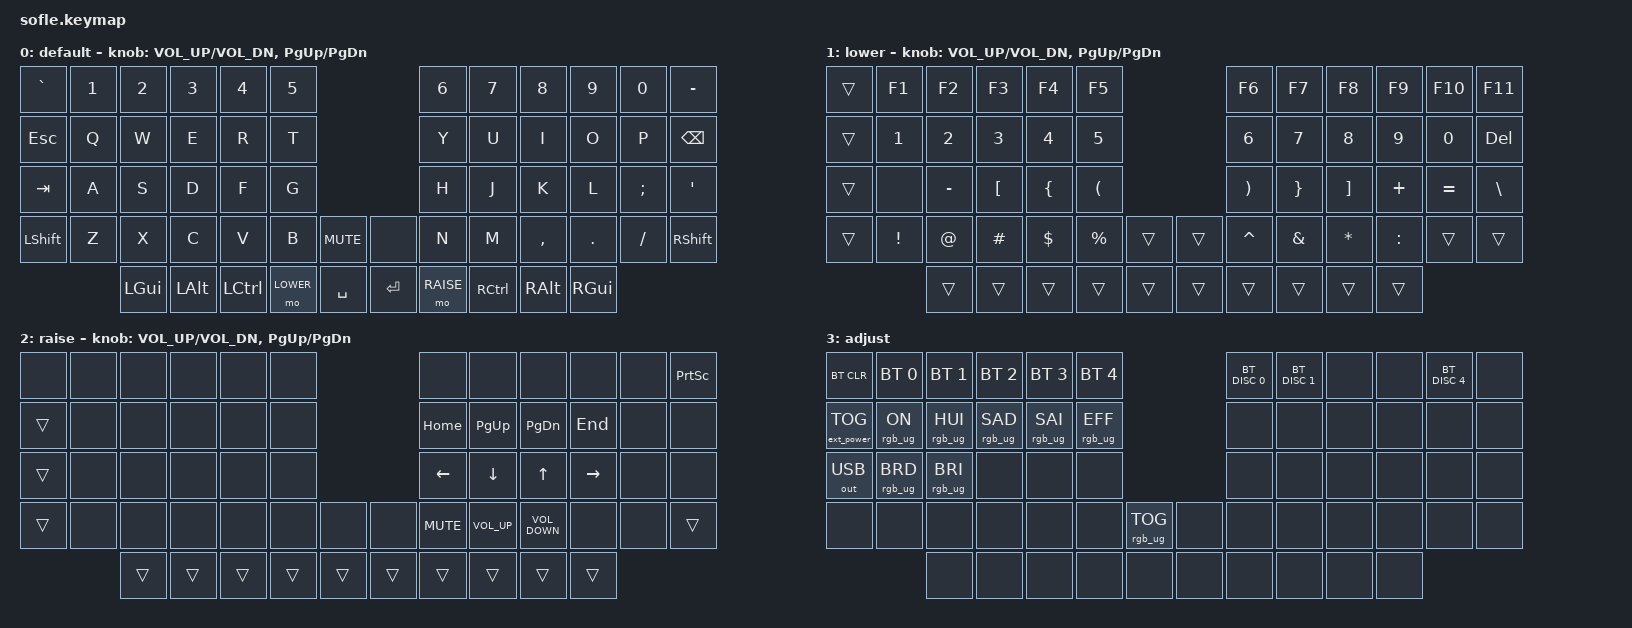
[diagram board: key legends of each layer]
/*
 * Copyright (c) 2020 The ZMK Contributors
 *
 * SPDX-License-Identifier: MIT
 */

#include <behaviors.dtsi>
#include <dt-bindings/zmk/bt.h>
#include <dt-bindings/zmk/ext_power.h>
#include <dt-bindings/zmk/keys.h>
#include <dt-bindings/zmk/outputs.h>
#include <dt-bindings/zmk/rgb.h>

#define BASE 0
#define LOWER 1
#define RAISE 2
#define ADJUST 3

/ {
    // Activate ADJUST layer by pressing raise and lower

    conditional_layers {
        compatible = "zmk,conditional-layers";

        adjust_layer {
            if-layers = <LOWER RAISE>;
            then-layer = <ADJUST>;
        };
    };

    keymap {
        compatible = "zmk,keymap";

        default_layer {
            display-name = "default";

            // ------------------------------------------------------------------------------------------------------------
            // |   `   |  1  |  2  |  3   |  4   |  5   |                   |  6   |  7    |  8    |  9   |   0   | MINUS |
            // |  ESC  |  Q  |  W  |  E   |  R   |  T   |                   |  Y   |  U    |  I    |  O   |   P   | BKSPC |
            // |  TAB  |  A  |  S  |  D   |  F   |  G   |                   |  H   |  J    |  K    |  L   |   ;   |   '   |
            // | SHIFT |  Z  |  X  |  C   |  V   |  B   |  MUTE  |  |       |  N   |  M    |  ,    |  .   |   /   | SHIFT |
            //               | GUI | ALT  | CTRL | LOWER|  SPACE |  | ENTER | RAISE| CTRL  | ALT   | GUI  |

            bindings = <
&kp GRAVE  &kp N1  &kp N2    &kp N3    &kp N4     &kp N5                            &kp N6     &kp N7     &kp N8     &kp N9    &kp N0    &kp MINUS
&kp ESC    &kp Q   &kp W     &kp E     &kp R      &kp T                             &kp Y      &kp U      &kp I      &kp O     &kp P     &kp BSPC
&kp TAB    &kp A   &kp S     &kp D     &kp F      &kp G                             &kp H      &kp J      &kp K      &kp L     &kp SEMI  &kp SQT
&kp LSHFT  &kp Z   &kp X     &kp C     &kp V      &kp B      &kp C_MUTE    &none    &kp N      &kp M      &kp COMMA  &kp DOT   &kp FSLH  &kp RSHFT
                   &kp LGUI  &kp LALT  &kp LCTRL  &mo LOWER  &kp SPACE     &kp RET  &mo RAISE  &kp RCTRL  &kp RALT   &kp RGUI
            >;

            sensor-bindings = <&inc_dec_kp C_VOL_UP C_VOL_DN &inc_dec_kp PG_UP PG_DN>;
        };

        lower_layer {
            display-name = "lower";

            // TODO: Some binds are waiting for shifted keycode support.
            // ------------------------------------------------------------------------------------------------------------
            // |       |  F1 |  F2 |  F3  |  F4  |  F5  |                   |  F6  |  F7   |  F8   |  F9  |  F10  |  F11  |
            // |   `   |  1  |  2  |  3   |  4   |  5   |                   |  6   |  7    |  8    |  9   |   0   |  F12  |
            // |       |  *  |  -  |  [   |  {   |  (   |                   |  )   |  }    |  ]    |  +   |   =   |   |   |
            // |       |  !  |  @  |  #   |  $   |  %   |        |  |       |  ^   |  &    |  ;    |  :   |   \   |       |
            //               |     |      |      |      |        |  |       |      |       |       |      |

            bindings = <
&trans  &kp F1    &kp F2     &kp F3    &kp F4    &kp F5                       &kp F6     &kp F7    &kp F8        &kp F9     &kp F10    &kp F11
&trans  &kp N1    &kp N2     &kp N3    &kp N4    &kp N5                       &kp N6     &kp N7    &kp N8        &kp N9     &kp N0     &kp DELETE
&trans  &none     &kp MINUS  &kp LBKT  &kp LBRC  &kp LPAR                     &kp RPAR   &kp RBRC  &kp RBKT      &kp PLUS   &kp EQUAL  &kp BACKSLASH
&trans  &kp EXCL  &kp AT     &kp HASH  &kp DLLR  &kp PRCNT  &trans    &trans  &kp CARET  &kp AMPS  &kp ASTERISK  &kp COLON  &trans     &trans
                  &trans     &trans    &trans    &trans     &trans    &trans  &trans     &trans    &trans        &trans
            >;

            sensor-bindings = <&inc_dec_kp C_VOL_UP C_VOL_DN &inc_dec_kp PG_UP PG_DN>;
        };

        raise_layer {
            display-name = "raise";

            // ------------------------------------------------------------------------------------------------------------
            // | BTCLR | BT1  | BT2  |  BT3  |  BT4  |  BT5 |                |      |      |       |      |       |       |
            // |       | INS  | PSCR | GUI   |       |      |                | PGUP |      |   ^   |      |       |       |
            // |       | ALT  | CTRL | SHIFT |       | CAPS |                | PGDN |   <- |   v   |  ->  |  DEL  | BKSPC |
            // |       | UNDO | CUT  | COPY  | PASTE |      |      |  |      |      |      |       |      |       |       |
            //                |      |       |       |      |      |  |      |      |      |       |      |

            bindings = <
&none   &none  &none   &none   &none   &none                     &none           &none            &none              &none      &none  &kp PRINTSCREEN
&trans  &none  &none   &none   &none   &none                     &kp HOME        &kp PAGE_UP      &kp PAGE_DOWN      &kp END    &none  &none
&trans  &none  &none   &none   &none   &none                     &kp LEFT_ARROW  &kp DOWN         &kp UP             &kp RIGHT  &none  &none
&trans  &none  &none   &none   &none   &none   &none     &none   &kp C_MUTE      &kp C_VOLUME_UP  &kp C_VOLUME_DOWN  &none      &none  &trans
               &trans  &trans  &trans  &trans  &trans    &trans  &trans          &trans           &trans             &trans
            >;

            sensor-bindings = <&inc_dec_kp C_VOL_UP C_VOL_DN &inc_dec_kp PG_UP PG_DN>;
        };

        adjust_layer {
            // ----------------------------------------------------------------------------------------------------------------------------
            // | BTCLR  |  BT1    |  BT2    |   BT3   |   BT4   |   BT5   |                  |      |      |       |      |       |       |
            // | EXTPWR | RGB_HUD | RGB_HUI | RGB_SAD | RGB_SAI | RGB_EFF |                  |      |      |       |      |       |       |
            // |        | RGB_BRD | RGB_BRI |         |         |         |                  |      |      |       |      |       |       |
            // |        |         |         |         |         |         | RGB_TOG | |      |      |      |       |      |       |       |
            //                    |         |         |         |         |         | |      |      |      |       |      |

            display-name = "adjust";
            bindings = <
&bt BT_CLR         &bt BT_SEL 0     &bt BT_SEL 1     &bt BT_SEL 2     &bt BT_SEL 3     &bt BT_SEL 4                               &bt BT_DISC 0  &bt BT_DISC 1  &none  &none  &bt BT_DISC 4  &none
&ext_power EP_TOG  &rgb_ug RGB_ON   &rgb_ug RGB_HUI  &rgb_ug RGB_SAD  &rgb_ug RGB_SAI  &rgb_ug RGB_EFF                            &none          &none          &none  &none  &none          &none
&out OUT_USB       &rgb_ug RGB_BRD  &rgb_ug RGB_BRI  &none            &none            &none                                      &none          &none          &none  &none  &none          &none
&none              &none            &none            &none            &none            &none            &rgb_ug RGB_TOG    &none  &none          &none          &none  &none  &none          &none
                                    &none            &none            &none            &none            &none              &none  &none          &none          &none  &none
            >;
        };
    };
};
